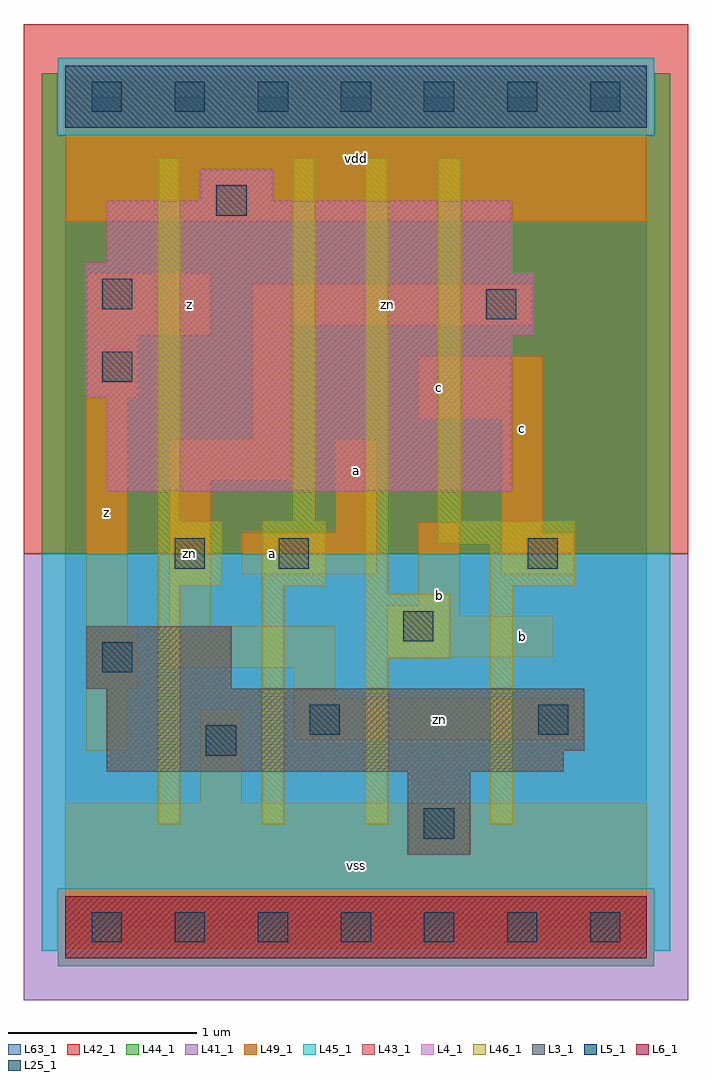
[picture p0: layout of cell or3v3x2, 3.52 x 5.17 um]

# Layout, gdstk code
import gdstk
lib = gdstk.Library(unit=1e-6, precision=1e-09)
def R(c, l, rs):  # rectangles x0, y0, x1, y1
    for r in rs: c.add(gdstk.rectangle(r[:2], r[2:], *l))
def A(c, l, x, y, w, h, nx, ny, dx, dy):  # array of equal rectangles
    R(c, l, [(x+i*dx, y+j*dy, x+i*dx+w, y+j*dy+h) for i in range(nx) for j in range(ny)])
L3_1 = (3, 1)
L4_1 = (4, 1)
L5_1 = (5, 1)
L6_1 = (6, 1)
L25_1 = (25, 1)
L41_1 = (41, 1)
L42_1 = (42, 1)
L43_1 = (43, 1)
L44_1 = (44, 1)
L45_1 = (45, 1)
L46_1 = (46, 1)
L49_1 = (49, 1)
L63_1 = (63, 1)

or3v3x2 = lib.new_cell('or3v3x2')
R(or3v3x2, L3_1, [(1.815,0.385,2.145,0.825), (0.22,0.825,2.64,0.935), (0.22,0.935,2.75,1.265), (0.11,1.265,0.88,1.595)])
R(or3v3x2, L4_1, [(0.22,2.31,2.365,2.805), (0.11,2.805,2.365,3.135), (0.11,3.135,2.475,3.465), (0.11,3.465,2.365,3.52), (0.22,3.52,2.365,3.85), (0.715,3.85,1.1,4.015)])
R(or3v3x2, L5_1, [(0,4.235,3.08,4.565)])
R(or3v3x2, L6_1, [(0,-0.165,3.08,0.165)])
A(or3v3x2, L25_1, 0.14, -0.08, 0.16, 0.16, 7, 2, 0.44, 4.4)
R(or3v3x2, L25_1, [(1.9,0.47,2.06,0.63), (0.745,0.91,0.905,1.07), (1.295,1.02,1.455,1.18), (2.505,1.02,2.665,1.18), (0.195,1.35,0.355,1.51), (1.79,1.515,1.95,1.675), (0.58,1.9,0.74,2.06), (1.13,1.9,1.29,2.06), (2.45,1.9,2.61,2.06), (0.195,2.89,0.355,3.05), (2.23,3.22,2.39,3.38), (0.195,3.275,0.355,3.435), (0.8,3.77,0.96,3.93)])
R(or3v3x2, L41_1, [(-0.22,-0.385,3.3,1.98)])
R(or3v3x2, L42_1, [(-0.22,1.98,3.3,4.785)])
R(or3v3x2, L43_1, [(0,-0.165,3.08,0.165), (1.815,0.385,2.145,0.825), (0.22,0.825,2.64,0.935), (0.22,0.935,2.75,1.265), (0.11,1.265,0.88,1.595), (0.22,2.31,2.365,2.805), (0.11,2.805,2.365,3.135), (0.11,3.135,2.475,3.465), (0.11,3.465,2.365,3.52), (0.22,3.52,2.365,3.85), (0.715,3.85,1.1,4.015), (0,4.235,3.08,4.565)])
R(or3v3x2, L44_1, [(-0.04,-0.205,3.12,0.205), (-0.125,1.98,3.205,4.195), (-0.125,4.195,-0.04,4.525), (3.12,4.195,3.205,4.525)])
R(or3v3x2, L45_1, [(-0.125,-0.125,-0.04,0.205), (3.12,-0.125,3.205,0.205), (-0.125,0.205,3.205,1.98), (-0.04,4.195,3.12,4.605)])
R(or3v3x2, L46_1, [(0.49,0.545,0.61,1.81), (1.04,0.545,1.16,1.81), (1.59,0.545,1.71,1.425), (2.25,0.545,2.37,1.81), (1.59,1.425,2.04,1.765), (1.59,1.765,1.71,4.075), (0.49,1.81,0.83,2.15), (1.04,1.81,1.38,2.15), (2.25,1.81,2.7,2.03), (1.975,2.03,2.7,2.15), (0.49,2.15,0.61,4.075), (1.205,2.15,1.325,4.075), (1.975,2.15,2.095,4.075)])
R(or3v3x2, L49_1, [(0,-0.11,3.08,0.66), (0.715,0.66,0.935,1.155), (0.11,0.935,0.33,1.265), (1.21,0.99,2.75,1.21), (1.21,1.21,1.43,1.375), (0.11,1.265,0.385,1.595), (0.55,1.375,1.43,1.595), (1.705,1.43,2.585,1.65), (0.11,1.595,0.33,2.805), (0.55,1.595,0.77,2.365), (1.705,1.65,2.09,1.705), (1.87,1.705,2.09,2.145), (0.935,1.87,1.65,2.09), (2.31,1.87,2.695,2.09), (1.43,2.09,1.65,2.585), (2.31,2.09,2.53,2.695), (0.55,2.365,1.21,2.585), (0.99,2.585,1.21,3.19), (1.87,2.695,2.53,3.025), (0.11,2.805,0.385,3.135), (0.11,3.135,0.77,3.465), (0.99,3.19,2.475,3.41), (0,3.74,3.08,4.51)])
R(or3v3x2, L63_1, [(0,0,3.08,4.4)])
or3v3x2.add(gdstk.Label('zn', (0.66,1.98), layer=49, texttype=1))
or3v3x2.add(gdstk.Label('z', (0.22,2.2), layer=49, texttype=1))
or3v3x2.add(gdstk.Label('a', (1.1,1.98), layer=49, texttype=1))
or3v3x2.add(gdstk.Label('zn', (0.66,1.98), layer=49, texttype=1))
or3v3x2.add(gdstk.Label('z', (0.66,3.3), layer=49, texttype=1))
or3v3x2.add(gdstk.Label('vss', (1.54,0.33), layer=49, texttype=1))
or3v3x2.add(gdstk.Label('b', (1.98,1.76), layer=49, texttype=1))
or3v3x2.add(gdstk.Label('a', (1.54,2.42), layer=49, texttype=1))
or3v3x2.add(gdstk.Label('c', (1.98,2.86), layer=49, texttype=1))
or3v3x2.add(gdstk.Label('vdd', (1.54,4.07), layer=49, texttype=1))
or3v3x2.add(gdstk.Label('zn', (1.98,1.1), layer=49, texttype=1))
or3v3x2.add(gdstk.Label('b', (2.42,1.54), layer=49, texttype=1))
or3v3x2.add(gdstk.Label('c', (2.42,2.64), layer=49, texttype=1))
or3v3x2.add(gdstk.Label('zn', (1.705,3.3), layer=49, texttype=1))

lib.write_gds('or3v3x2.gds')
